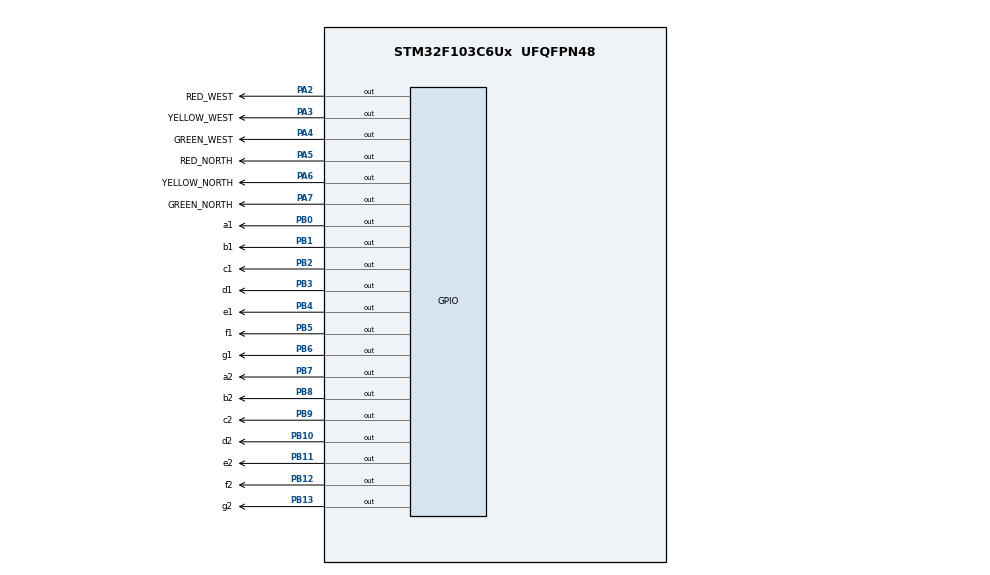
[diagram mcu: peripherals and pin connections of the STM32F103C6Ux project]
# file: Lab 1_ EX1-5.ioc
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Mcu.Family=STM32F1
Mcu.Name=STM32F103C6Ux
Mcu.Package=UFQFPN48
NVIC.PriorityGroup=NVIC_PRIORITYGROUP_4
PA2.GPIO_Label=RED_WEST
PA2.Signal=GPIO_Output
PA3.GPIO_Label=YELLOW_WEST
PA3.Signal=GPIO_Output
PA4.GPIO_Label=GREEN_WEST
PA4.Signal=GPIO_Output
PA5.GPIO_Label=RED_NORTH
PA5.Signal=GPIO_Output
PA6.GPIO_Label=YELLOW_NORTH
PA6.Signal=GPIO_Output
PA7.GPIO_Label=GREEN_NORTH
PA7.Signal=GPIO_Output
PB0.GPIO_Label=a1
PB0.Signal=GPIO_Output
PB1.GPIO_Label=b1
PB1.Signal=GPIO_Output
PB10.GPIO_Label=d2
PB10.Signal=GPIO_Output
PB11.GPIO_Label=e2
PB11.Signal=GPIO_Output
PB12.GPIO_Label=f2
PB12.Signal=GPIO_Output
PB13.GPIO_Label=g2
PB13.Signal=GPIO_Output
PB2.GPIO_Label=c1
PB2.Signal=GPIO_Output
PB3.GPIO_Label=d1
PB3.Signal=GPIO_Output
PB4.GPIO_Label=e1
PB4.Signal=GPIO_Output
PB5.GPIO_Label=f1
PB5.Signal=GPIO_Output
PB6.GPIO_Label=g1
PB6.Signal=GPIO_Output
PB7.GPIO_Label=a2
PB7.Signal=GPIO_Output
PB8.GPIO_Label=b2
PB8.Signal=GPIO_Output
PB9.GPIO_Label=c2
PB9.Signal=GPIO_Output
ProjectManager.HeapSize=0x200
ProjectManager.StackSize=0x400
ProjectManager.TargetToolchain=STM32CubeIDE
RCC.APB1Freq_Value=8000000
RCC.APB2Freq_Value=8000000
VP_SYS_VS_ND.Mode=No_Debug
board=custom

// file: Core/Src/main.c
/* USER CODE BEGIN Header */
/**
  ******************************************************************************
  * @file           : main.c
  * @brief          : Main program body
  ******************************************************************************
  * @attention
  *
  * <h2><center>&copy; Copyright (c) 2022 STMicroelectronics.
  * All rights reserved.</center></h2>
  *
  * This software component is licensed by ST under BSD 3-Clause license,
  * the "License"; You may not use this file except in compliance with the
  * License. You may obtain a copy of the License at:
  *                        opensource.org/licenses/BSD-3-Clause
  *
  ******************************************************************************
  */
/* USER CODE END Header */
#include "main.h"

/* USER CODE BEGIN PD */
#define RED_WEST_ON() HAL_GPIO_WritePin(RED_WEST_GPIO_Port, RED_WEST_Pin, GPIO_PIN_SET)
#define RED_WEST_OFF() HAL_GPIO_WritePin(RED_WEST_GPIO_Port, RED_WEST_Pin, GPIO_PIN_RESET)

#define YELLOW_WEST_ON() HAL_GPIO_WritePin(YELLOW_WEST_GPIO_Port, YELLOW_WEST_Pin, GPIO_PIN_SET)
#define YELLOW_WEST_OFF() HAL_GPIO_WritePin(YELLOW_WEST_GPIO_Port, YELLOW_WEST_Pin, GPIO_PIN_RESET)

#define GREEN_WEST_ON() HAL_GPIO_WritePin(GREEN_WEST_GPIO_Port, GREEN_WEST_Pin, GPIO_PIN_SET)
#define GREEN_WEST_OFF() HAL_GPIO_WritePin(GREEN_WEST_GPIO_Port, GREEN_WEST_Pin, GPIO_PIN_RESET)

#define RED_NORTH_ON() HAL_GPIO_WritePin(RED_NORTH_GPIO_Port, RED_NORTH_Pin, GPIO_PIN_SET)
#define RED_NORTH_OFF() HAL_GPIO_WritePin(RED_NORTH_GPIO_Port, RED_NORTH_Pin, GPIO_PIN_RESET)

#define YELLOW_NORTH_ON() HAL_GPIO_WritePin(YELLOW_NORTH_GPIO_Port, YELLOW_NORTH_Pin, GPIO_PIN_SET)
#define YELLOW_NORTH_OFF() HAL_GPIO_WritePin(YELLOW_NORTH_GPIO_Port, YELLOW_NORTH_Pin, GPIO_PIN_RESET)

#define GREEN_NORTH_ON() HAL_GPIO_WritePin(GREEN_NORTH_GPIO_Port, GREEN_NORTH_Pin, GPIO_PIN_SET)
#define GREEN_NORTH_OFF() HAL_GPIO_WritePin(GREEN_NORTH_GPIO_Port, GREEN_NORTH_Pin, GPIO_PIN_RESET)

#define DELAY 1000

#define RED_COUNTER 5
#define YELLOW_COUNTER 2
#define GREEN_COUNTER 3
#define GENERAL_COUNTER 2

#define RESET_TIME 0

#define ON 1
#define OFF 0

#define RUN_COUNT 10
/* USER CODE END PD */

/* USER CODE BEGIN PV */
int counter = 0;
int timer_counter = GENERAL_COUNTER;

int RED_WEST_count = RED_COUNTER;
int YELLOW_WEST_count = YELLOW_COUNTER;
int GREEN_WEST_count = GREEN_COUNTER;

int RED_NORTH_count = RED_COUNTER;
int YELLOW_NORTH_count = YELLOW_COUNTER;
int GREEN_NORTH_count = GREEN_COUNTER;

int RED_WEST_stat = ON;
int YELLOW_WEST_stat = OFF;
int GREEN_WEST_stat = OFF;

int RED_NORTH_stat = OFF;
int YELLOW_NORTH_stat = OFF;
int GREEN_NORTH_stat = ON;
/* USER CODE END PV */

void SystemClock_Config(void);
static void MX_GPIO_Init(void);
/* USER CODE BEGIN PFP */
void display7SEG(int counter){
	switch(counter){
	case 0:
		HAL_GPIO_WritePin(a1_GPIO_Port, a1_Pin, GPIO_PIN_RESET);
		HAL_GPIO_WritePin(b1_GPIO_Port, b1_Pin, GPIO_PIN_RESET);
		HAL_GPIO_WritePin(c1_GPIO_Port, c1_Pin, GPIO_PIN_RESET);
		HAL_GPIO_WritePin(d1_GPIO_Port, d1_Pin, GPIO_PIN_RESET);
		HAL_GPIO_WritePin(e1_GPIO_Port, e1_Pin, GPIO_PIN_RESET);
		HAL_GPIO_WritePin(f1_GPIO_Port, f1_Pin, GPIO_PIN_RESET);
		HAL_GPIO_WritePin(g1_GPIO_Port, g1_Pin, GPIO_PIN_SET);
		break;
	case 1:
		HAL_GPIO_WritePin(a1_GPIO_Port, a1_Pin, GPIO_PIN_SET);
		HAL_GPIO_WritePin(b1_GPIO_Port, b1_Pin, GPIO_PIN_RESET);
		HAL_GPIO_WritePin(c1_GPIO_Port, c1_Pin, GPIO_PIN_RESET);
		HAL_GPIO_WritePin(d1_GPIO_Port, d1_Pin, GPIO_PIN_SET);
		HAL_GPIO_WritePin(e1_GPIO_Port, e1_Pin, GPIO_PIN_SET);
		HAL_GPIO_WritePin(f1_GPIO_Port, f1_Pin, GPIO_PIN_SET);
		HAL_GPIO_WritePin(g1_GPIO_Port, g1_Pin, GPIO_PIN_SET);
		break;
	case 2:
		HAL_GPIO_WritePin(a1_GPIO_Port, a1_Pin, GPIO_PIN_RESET);
		HAL_GPIO_WritePin(b1_GPIO_Port, b1_Pin, GPIO_PIN_RESET);
		HAL_GPIO_WritePin(c1_GPIO_Port, c1_Pin, GPIO_PIN_SET);
		HAL_GPIO_WritePin(d1_GPIO_Port, d1_Pin, GPIO_PIN_RESET);
		HAL_GPIO_WritePin(e1_GPIO_Port, e1_Pin, GPIO_PIN_RESET);
		HAL_GPIO_WritePin(f1_GPIO_Port, f1_Pin, GPIO_PIN_SET);
		HAL_GPIO_WritePin(g1_GPIO_Port, g1_Pin, GPIO_PIN_RESET);
		break;
	case 3:
		HAL_GPIO_WritePin(a1_GPIO_Port, a1_Pin, GPIO_PIN_RESET);
		HAL_GPIO_WritePin(b1_GPIO_Port, b1_Pin, GPIO_PIN_RESET);
		HAL_GPIO_WritePin(c1_GPIO_Port, c1_Pin, GPIO_PIN_RESET);
		HAL_GPIO_WritePin(d1_GPIO_Port, d1_Pin, GPIO_PIN_RESET);
		HAL_GPIO_WritePin(e1_GPIO_Port, e1_Pin, GPIO_PIN_SET);
		HAL_GPIO_WritePin(f1_GPIO_Port, f1_Pin, GPIO_PIN_SET);
		HAL_GPIO_WritePin(g1_GPIO_Port, g1_Pin, GPIO_PIN_RESET);
		break;
	case 4:
		HAL_GPIO_WritePin(a1_GPIO_Port, a1_Pin, GPIO_PIN_SET);
		HAL_GPIO_WritePin(b1_GPIO_Port, b1_Pin, GPIO_PIN_RESET);
		HAL_GPIO_WritePin(c1_GPIO_Port, c1_Pin, GPIO_PIN_RESET);
		HAL_GPIO_WritePin(d1_GPIO_Port, d1_Pin, GPIO_PIN_SET);
		HAL_GPIO_WritePin(e1_GPIO_Port, e1_Pin, GPIO_PIN_SET);
		HAL_GPIO_WritePin(f1_GPIO_Port, f1_Pin, GPIO_PIN_RESET);
		HAL_GPIO_WritePin(g1_GPIO_Port, g1_Pin, GPIO_PIN_RESET);
		break;
	case 5:
		HAL_GPIO_WritePin(a1_GPIO_Port, a1_Pin, GPIO_PIN_RESET);
		HAL_GPIO_WritePin(b1_GPIO_Port, b1_Pin, GPIO_PIN_SET);
		HAL_GPIO_WritePin(c1_GPIO_Port, c1_Pin, GPIO_PIN_RESET);
		HAL_GPIO_WritePin(d1_GPIO_Port, d1_Pin, GPIO_PIN_RESET);
		HAL_GPIO_WritePin(e1_GPIO_Port, e1_Pin, GPIO_PIN_SET);
		HAL_GPIO_WritePin(f1_GPIO_Port, f1_Pin, GPIO_PIN_RESET);
		HAL_GPIO_WritePin(g1_GPIO_Port, g1_Pin, GPIO_PIN_RESET);
		break;
	case 6:
		HAL_GPIO_WritePin(a1_GPIO_Port, a1_Pin, GPIO_PIN_RESET);
		HAL_GPIO_WritePin(b1_GPIO_Port, b1_Pin, GPIO_PIN_SET);
		HAL_GPIO_WritePin(c1_GPIO_Port, c1_Pin, GPIO_PIN_RESET);
		HAL_GPIO_WritePin(d1_GPIO_Port, d1_Pin, GPIO_PIN_RESET);
		HAL_GPIO_WritePin(e1_GPIO_Port, e1_Pin, GPIO_PIN_SET);
		HAL_GPIO_WritePin(f1_GPIO_Port, f1_Pin, GPIO_PIN_RESET);
		HAL_GPIO_WritePin(g1_GPIO_Port, g1_Pin, GPIO_PIN_RESET);
		break;
	case 7:
		HAL_GPIO_WritePin(a1_GPIO_Port, a1_Pin, GPIO_PIN_RESET);
		HAL_GPIO_WritePin(b1_GPIO_Port, b1_Pin, GPIO_PIN_SET);
		HAL_GPIO_WritePin(c1_GPIO_Port, c1_Pin, GPIO_PIN_RESET);
		HAL_GPIO_WritePin(d1_GPIO_Port, d1_Pin, GPIO_PIN_RESET);
		HAL_GPIO_WritePin(e1_GPIO_Port, e1_Pin, GPIO_PIN_SET);
		HAL_GPIO_WritePin(f1_GPIO_Port, f1_Pin, GPIO_PIN_RESET);
		HAL_GPIO_WritePin(g1_GPIO_Port, g1_Pin, GPIO_PIN_RESET);
		break;
	case 8:
		HAL_GPIO_WritePin(a1_GPIO_Port, a1_Pin, GPIO_PIN_RESET);
		HAL_GPIO_WritePin(b1_GPIO_Port, b1_Pin, GPIO_PIN_SET);
		HAL_GPIO_WritePin(c1_GPIO_Port, c1_Pin, GPIO_PIN_RESET);
		HAL_GPIO_WritePin(d1_GPIO_Port, d1_Pin, GPIO_PIN_RESET);
		HAL_GPIO_WritePin(e1_GPIO_Port, e1_Pin, GPIO_PIN_SET);
		HAL_GPIO_WritePin(f1_GPIO_Port, f1_Pin, GPIO_PIN_RESET);
		HAL_GPIO_WritePin(g1_GPIO_Port, g1_Pin, GPIO_PIN_RESET);
		break;
	case 9:
		HAL_GPIO_WritePin(a1_GPIO_Port, a1_Pin, GPIO_PIN_RESET);
		HAL_GPIO_WritePin(b1_GPIO_Port, b1_Pin, GPIO_PIN_SET);
		HAL_GPIO_WritePin(c1_GPIO_Port, c1_Pin, GPIO_PIN_RESET);
		HAL_GPIO_WritePin(d1_GPIO_Port, d1_Pin, GPIO_PIN_RESET);
		HAL_GPIO_WritePin(e1_GPIO_Port, e1_Pin, GPIO_PIN_SET);
		HAL_GPIO_WritePin(f1_GPIO_Port, f1_Pin, GPIO_PIN_RESET);
		HAL_GPIO_WritePin(g1_GPIO_Port, g1_Pin, GPIO_PIN_RESET);
		break;
	default:
		break;
	}
}

void display7SEG2(int counter){
	switch(counter){
	case 0:
		HAL_GPIO_WritePin(a2_GPIO_Port, a2_Pin, GPIO_PIN_RESET);
		HAL_GPIO_WritePin(b2_GPIO_Port, b2_Pin, GPIO_PIN_RESET);
		HAL_GPIO_WritePin(c2_GPIO_Port, c2_Pin, GPIO_PIN_RESET);
		HAL_GPIO_WritePin(d2_GPIO_Port, d2_Pin, GPIO_PIN_RESET);
		HAL_GPIO_WritePin(e2_GPIO_Port, e2_Pin, GPIO_PIN_RESET);
		HAL_GPIO_WritePin(f2_GPIO_Port, f2_Pin, GPIO_PIN_RESET);
		HAL_GPIO_WritePin(g2_GPIO_Port, g2_Pin, GPIO_PIN_SET);
		break;
	case 1:
		HAL_GPIO_WritePin(a2_GPIO_Port, a2_Pin, GPIO_PIN_SET);
		HAL_GPIO_WritePin(b2_GPIO_Port, b2_Pin, GPIO_PIN_RESET);
		HAL_GPIO_WritePin(c2_GPIO_Port, c2_Pin, GPIO_PIN_RESET);
		HAL_GPIO_WritePin(d2_GPIO_Port, d2_Pin, GPIO_PIN_SET);
		HAL_GPIO_WritePin(e2_GPIO_Port, e2_Pin, GPIO_PIN_SET);
		HAL_GPIO_WritePin(f2_GPIO_Port, f2_Pin, GPIO_PIN_SET);
		HAL_GPIO_WritePin(g2_GPIO_Port, g2_Pin, GPIO_PIN_SET);
		break;
	case 2:
		HAL_GPIO_WritePin(a2_GPIO_Port, a2_Pin, GPIO_PIN_RESET);
		HAL_GPIO_WritePin(b2_GPIO_Port, b2_Pin, GPIO_PIN_RESET);
		HAL_GPIO_WritePin(c2_GPIO_Port, c2_Pin, GPIO_PIN_SET);
		HAL_GPIO_WritePin(d2_GPIO_Port, d2_Pin, GPIO_PIN_RESET);
		HAL_GPIO_WritePin(e2_GPIO_Port, e2_Pin, GPIO_PIN_RESET);
		HAL_GPIO_WritePin(f2_GPIO_Port, f2_Pin, GPIO_PIN_SET);
		HAL_GPIO_WritePin(g2_GPIO_Port, g2_Pin, GPIO_PIN_RESET);
		break;
	case 3:
		HAL_GPIO_WritePin(a2_GPIO_Port, a2_Pin, GPIO_PIN_RESET);
		HAL_GPIO_WritePin(b2_GPIO_Port, b2_Pin, GPIO_PIN_RESET);
		HAL_GPIO_WritePin(c2_GPIO_Port, c2_Pin, GPIO_PIN_RESET);
		HAL_GPIO_WritePin(d2_GPIO_Port, d2_Pin, GPIO_PIN_RESET);
		HAL_GPIO_WritePin(e2_GPIO_Port, e2_Pin, GPIO_PIN_SET);
		HAL_GPIO_WritePin(f2_GPIO_Port, f2_Pin, GPIO_PIN_SET);
		HAL_GPIO_WritePin(g2_GPIO_Port, g2_Pin, GPIO_PIN_RESET);
		break;
	case 4:
		HAL_GPIO_WritePin(a2_GPIO_Port, a2_Pin, GPIO_PIN_SET);
		HAL_GPIO_WritePin(b2_GPIO_Port, b2_Pin, GPIO_PIN_RESET);
		HAL_GPIO_WritePin(c2_GPIO_Port, c2_Pin, GPIO_PIN_RESET);
		HAL_GPIO_WritePin(d2_GPIO_Port, d2_Pin, GPIO_PIN_SET);
		HAL_GPIO_WritePin(e2_GPIO_Port, e2_Pin, GPIO_PIN_SET);
		HAL_GPIO_WritePin(f2_GPIO_Port, f2_Pin, GPIO_PIN_RESET);
		HAL_GPIO_WritePin(g2_GPIO_Port, g2_Pin, GPIO_PIN_RESET);
		break;
	case 5:
		HAL_GPIO_WritePin(a2_GPIO_Port, a2_Pin, GPIO_PIN_RESET);
		HAL_GPIO_WritePin(b2_GPIO_Port, b2_Pin, GPIO_PIN_SET);
		HAL_GPIO_WritePin(c2_GPIO_Port, c2_Pin, GPIO_PIN_RESET);
		HAL_GPIO_WritePin(d2_GPIO_Port, d2_Pin, GPIO_PIN_RESET);
		HAL_GPIO_WritePin(e2_GPIO_Port, e2_Pin, GPIO_PIN_SET);
		HAL_GPIO_WritePin(f2_GPIO_Port, f2_Pin, GPIO_PIN_RESET);
		HAL_GPIO_WritePin(g2_GPIO_Port, g2_Pin, GPIO_PIN_RESET);
		break;
	default:
		break;
	}
}

void check7SEG(){
	if(counter >= RUN_COUNT) counter = RESET_TIME;
	display7SEG(counter++);
}

void LED_SWITCHING(){
	if(RED_WEST_stat == ON){
	  if(timer_counter == RESET_TIME){
		  timer_counter = GENERAL_COUNTER;
		  RED_WEST_stat = OFF;
		  YELLOW_WEST_stat = ON;
	  }
	}

	  if(YELLOW_WEST_stat == ON){
		  if(timer_counter == RESET_TIME){
			  timer_counter = GENERAL_COUNTER;
			  RED_WEST_stat = ON;
			  YELLOW_WEST_stat = OFF;
		  }
	  }

	  if(RED_WEST_stat == ON){
		  RED_WEST_ON();
		  timer_counter--;
	  }
	  else RED_WEST_OFF();

	  if(YELLOW_WEST_stat == ON){
		  YELLOW_WEST_ON();
		  timer_counter--;
	  }
	  else YELLOW_WEST_OFF();
}
/* USER CODE END PFP */

int main(void)
{

  /* MCU Configuration--------------------------------------------------------*/

  /* Reset of all peripherals, Initializes the Flash interface and the Systick. */
  HAL_Init();

  /* Configure the system clock */
  SystemClock_Config();

  /* Initialize all configured peripherals */
  MX_GPIO_Init();

  /* Infinite loop */
  /* USER CODE BEGIN WHILE */
  while (1)
  {
	  /*------------------EX1----------
		2_LED_SWITCHING();
	  */

	  /*------------------EX4----------
	   check7SEG();
	  */

	  /*------------------EX2-3-5----------*/
	  if(RED_WEST_stat == ON){
		  if(RED_WEST_count == RESET_TIME){
			  RED_WEST_count = RED_COUNTER;
			  RED_WEST_stat = OFF;
			  YELLOW_WEST_stat = OFF;
			  GREEN_WEST_stat = ON;
		  }
	  }

	  if(GREEN_WEST_stat == ON){
		  if(GREEN_WEST_count == RESET_TIME){
			  GREEN_WEST_count = GREEN_COUNTER;
			  RED_WEST_stat = OFF;
			  YELLOW_WEST_stat = ON;
			  GREEN_WEST_stat = OFF;
		  }
	  }

	  if(YELLOW_WEST_stat == ON){
		  if(YELLOW_WEST_count == RESET_TIME){
			  YELLOW_WEST_count = YELLOW_COUNTER;
			  RED_WEST_stat = ON;
			  YELLOW_WEST_stat = OFF;
			  GREEN_WEST_stat = OFF;
		  }
	  }

	  if(RED_WEST_stat == ON){
		  RED_WEST_ON();
		  display7SEG(RED_WEST_count);
		  RED_WEST_count--;
	  }
	  if(RED_WEST_stat == OFF)RED_WEST_OFF();

	  if(YELLOW_WEST_stat == ON){
		  YELLOW_WEST_ON();
		  display7SEG(YELLOW_WEST_count);
		  YELLOW_WEST_count--;
	  }
	  if(RED_WEST_stat == OFF) YELLOW_WEST_OFF();

	  if(GREEN_WEST_stat == ON){
		  GREEN_WEST_ON();
		  display7SEG(GREEN_WEST_count);
		  GREEN_WEST_count--;
	  }
	  if(GREEN_WEST_stat == OFF) GREEN_WEST_OFF();

	  if(RED_NORTH_stat == ON){
		  if(RED_NORTH_count == RESET_TIME){
			  RED_NORTH_count = RED_COUNTER;
			  RED_NORTH_stat = OFF;
			  YELLOW_NORTH_stat = OFF;
			  GREEN_NORTH_stat = ON;
		  }
	  }

	  if(GREEN_NORTH_stat == ON){
		  if(GREEN_NORTH_count == RESET_TIME){
			  GREEN_NORTH_count = GREEN_COUNTER;
			  RED_NORTH_stat = OFF;
			  YELLOW_NORTH_stat = ON;
			  GREEN_NORTH_stat = OFF;
		  }
	  }

	  if(YELLOW_NORTH_stat == ON){
		  if(YELLOW_NORTH_count == RESET_TIME){
			  YELLOW_NORTH_count = YELLOW_COUNTER;
			  RED_NORTH_stat = ON;
			  YELLOW_NORTH_stat = OFF;
			  GREEN_NORTH_stat = OFF;
		  }
	  }

	  if(RED_NORTH_stat == ON){
		  RED_NORTH_ON();
		  display7SEG2(RED_NORTH_count);
		  RED_NORTH_count--;
	  }
	  if(RED_NORTH_stat == OFF) RED_NORTH_OFF();

	  if(YELLOW_NORTH_stat == ON){
		  YELLOW_NORTH_ON();
		  display7SEG2(YELLOW_NORTH_count);
		  YELLOW_NORTH_count--;
	  }
	  if(YELLOW_NORTH_stat == OFF) YELLOW_NORTH_OFF();

	  if(GREEN_NORTH_stat == ON){
		  GREEN_NORTH_ON();
		  display7SEG2(GREEN_NORTH_count);
		  GREEN_NORTH_count--;
	  }
	  if(GREEN_NORTH_stat == OFF) GREEN_NORTH_OFF();

	  HAL_Delay(DELAY);
    /* USER CODE END WHILE */

  }
}

void SystemClock_Config(void)
{
  RCC_OscInitTypeDef RCC_OscInitStruct = {0};
  RCC_ClkInitTypeDef RCC_ClkInitStruct = {0};

  /** Initializes the RCC Oscillators according to the specified parameters
  * in the RCC_OscInitTypeDef structure.
  */
  RCC_OscInitStruct.OscillatorType = RCC_OSCILLATORTYPE_HSI;
  RCC_OscInitStruct.HSIState = RCC_HSI_ON;
  RCC_OscInitStruct.HSICalibrationValue = RCC_HSICALIBRATION_DEFAULT;
  RCC_OscInitStruct.PLL.PLLState = RCC_PLL_NONE;
  if (HAL_RCC_OscConfig(&RCC_OscInitStruct) != HAL_OK)
  {
    Error_Handler();
  }
  /** Initializes the CPU, AHB and APB buses clocks
  */
  RCC_ClkInitStruct.ClockType = RCC_CLOCKTYPE_HCLK|RCC_CLOCKTYPE_SYSCLK
                              |RCC_CLOCKTYPE_PCLK1|RCC_CLOCKTYPE_PCLK2;
  RCC_ClkInitStruct.SYSCLKSource = RCC_SYSCLKSOURCE_HSI;
  RCC_ClkInitStruct.AHBCLKDivider = RCC_SYSCLK_DIV1;
  RCC_ClkInitStruct.APB1CLKDivider = RCC_HCLK_DIV1;
  RCC_ClkInitStruct.APB2CLKDivider = RCC_HCLK_DIV1;

  if (HAL_RCC_ClockConfig(&RCC_ClkInitStruct, FLASH_LATENCY_0) != HAL_OK)
  {
    Error_Handler();
  }
}

static void MX_GPIO_Init(void)
{
  GPIO_InitTypeDef GPIO_InitStruct = {0};

  /* GPIO Ports Clock Enable */
  __HAL_RCC_GPIOA_CLK_ENABLE();
  __HAL_RCC_GPIOB_CLK_ENABLE();

  /*Configure GPIO pin Output Level */
  HAL_GPIO_WritePin(GPIOA, RED_WEST_Pin|YELLOW_WEST_Pin|GREEN_WEST_Pin|RED_NORTH_Pin
                          |YELLOW_NORTH_Pin|GREEN_NORTH_Pin, GPIO_PIN_RESET);

  /*Configure GPIO pin Output Level */
  HAL_GPIO_WritePin(GPIOB, a1_Pin|b1_Pin|c1_Pin|d2_Pin
                          |e2_Pin|f2_Pin|g2_Pin|d1_Pin
                          |e1_Pin|f1_Pin|g1_Pin|a2_Pin
                          |b2_Pin|c2_Pin, GPIO_PIN_RESET);

  /*Configure GPIO pins : RED_WEST_Pin YELLOW_WEST_Pin GREEN_WEST_Pin RED_NORTH_Pin
                           YELLOW_NORTH_Pin GREEN_NORTH_Pin */
  GPIO_InitStruct.Pin = RED_WEST_Pin|YELLOW_WEST_Pin|GREEN_WEST_Pin|RED_NORTH_Pin
                          |YELLOW_NORTH_Pin|GREEN_NORTH_Pin;
  GPIO_InitStruct.Mode = GPIO_MODE_OUTPUT_PP;
  GPIO_InitStruct.Pull = GPIO_NOPULL;
  GPIO_InitStruct.Speed = GPIO_SPEED_FREQ_LOW;
  HAL_GPIO_Init(GPIOA, &GPIO_InitStruct);

  /*Configure GPIO pins : a1_Pin b1_Pin c1_Pin d2_Pin
                           e2_Pin f2_Pin g2_Pin d1_Pin
                           e1_Pin f1_Pin g1_Pin a2_Pin
                           b2_Pin c2_Pin */
  GPIO_InitStruct.Pin = a1_Pin|b1_Pin|c1_Pin|d2_Pin
                          |e2_Pin|f2_Pin|g2_Pin|d1_Pin
                          |e1_Pin|f1_Pin|g1_Pin|a2_Pin
                          |b2_Pin|c2_Pin;
  GPIO_InitStruct.Mode = GPIO_MODE_OUTPUT_PP;
  GPIO_InitStruct.Pull = GPIO_NOPULL;
  GPIO_InitStruct.Speed = GPIO_SPEED_FREQ_LOW;
  HAL_GPIO_Init(GPIOB, &GPIO_InitStruct);

}

void Error_Handler(void)
{
  __disable_irq();
  while (1)
  {
  }
}

/************************ (C) COPYRIGHT STMicroelectronics *****END OF FILE****/
